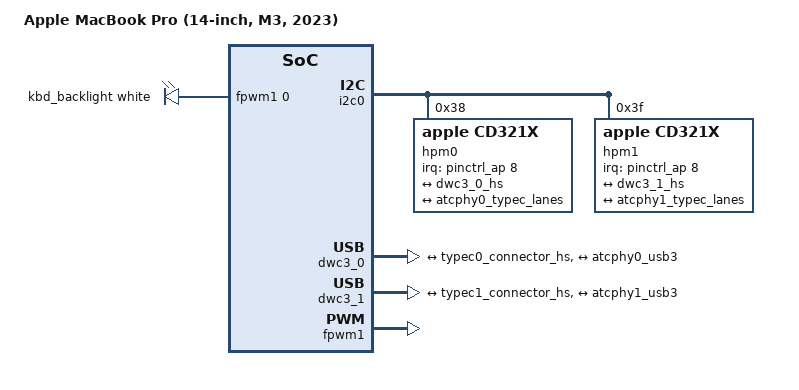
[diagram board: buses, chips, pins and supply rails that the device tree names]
// SPDX-License-Identifier: GPL-2.0+ OR MIT
/*
 * Apple MacBook Pro (14-inch, M3, 2023)
 *
 * target-type: J504
 *
 * Copyright The Asahi Linux Contributors
 */

/dts-v1/;

#include "t8122.dtsi"
#include "t8122-jxxx.dtsi"
#include <dt-bindings/leds/common.h>

/ {
	compatible = "apple,j504", "apple,t8122", "apple,arm-platform";
	model = "Apple MacBook Pro (14-inch, M3, 2023)";

	aliases {
#if 0
		bluetooth0 = &bluetooth0;
		wifi0 = &wifi0;
		keyboard = &keyboard;
#endif
	};

	led-controller {
		compatible = "pwm-leds";
		led-0 {
			pwms = <&fpwm1 0 40000>;
			label = "kbd_backlight";
			function = LED_FUNCTION_KBD_BACKLIGHT;
			color = <LED_COLOR_ID_WHITE>;
			max-brightness = <255>;
			default-state = "keep";
		};
	};
};

// &dcp {
// 	panel: panel {
// 		compatible = "apple,panel-j493", "apple,panel";
// 		width-mm = <286>;
// 		height-mm = <179>;
// 		apple,max-brightness = <525>;
// 	};
// };

&framebuffer0 {
	// panel = &panel;
	power-domains = <&ps_disp_cpu>, <&ps_dptx_ext_phy>;
};

/*
 * Force the bus number assignments so that we can declare some of the
 * on-board devices and properties that are populated by the bootloader
 * (such as MAC addresses).
 */
#if 0
&port00 {
	bus-range = <1 1>;
	pwren-gpios = <&smc_gpio 13 GPIO_ACTIVE_HIGH>;
	wifi0: wifi@0,0 {
		compatible = "pci14e4,4425";
		reg = <0x10000 0x0 0x0 0x0 0x0>;
		/* To be filled by the loader */
		local-mac-address = [00 00 00 00 00 00];
		apple,antenna-sku = "XX";
		brcm,board-type = "apple,kyushu";
	};

	bluetooth0: bluetooth@0,1 {
		compatible = "pci14e4,5f69";
		reg = <0x10100 0x0 0x0 0x0 0x0>;
		/* To be filled by the loader */
		local-bd-address = [00 00 00 00 00 00];
		brcm,board-type = "apple,kyushu";
	};
};
#endif

&i2c0 {
	status = "okay";

	hpm0: usb-pd@38 {
		compatible = "apple,cd321x";
		reg = <0x38>;
		interrupt-parent = <&pinctrl_ap>;
		interrupts = <8 IRQ_TYPE_LEVEL_LOW>;
		interrupt-names = "irq";

		typec0: connector {
			compatible = "usb-c-connector";
			label = "USB-C Left-back";
			power-role = "dual";
			data-role = "dual";

			ports {
				#address-cells = <1>;
				#size-cells = <0>;
				port@0 {
					reg = <0>;
					typec0_connector_hs: endpoint {
						remote-endpoint = <&dwc3_0_hs>;
					};
				};
				port@1 {
					reg = <1>;
					typec0_connector_ss: endpoint {
						remote-endpoint = <&atcphy0_typec_lanes>;
					};
				};
			};
		};
	};

	hpm1: usb-pd@3f {
		compatible = "apple,cd321x";
		reg = <0x3f>;
		interrupt-parent = <&pinctrl_ap>;
		interrupts = <8 IRQ_TYPE_LEVEL_LOW>;
		interrupt-names = "irq";

		typec1: connector {
			compatible = "usb-c-connector";
			label = "USB-C Left-front";
			power-role = "dual";
			data-role = "dual";

			ports {
				#address-cells = <1>;
				#size-cells = <0>;
				port@0 {
					reg = <0>;
					typec1_connector_hs: endpoint {
						remote-endpoint = <&dwc3_1_hs>;
					};
				};
				port@1 {
					reg = <1>;
					typec1_connector_ss: endpoint {
						remote-endpoint = <&atcphy1_typec_lanes>;
					};
				};
			};
		};
	};
};

/* USB controllers */
&dwc3_0 {
	ports {
		#address-cells = <1>;
		#size-cells = <0>;

		port@0 {
			reg = <0>;
			dwc3_0_hs: endpoint {
				remote-endpoint = <&typec0_connector_hs>;
			};
		};

		port@1 {
			reg = <1>;
			dwc3_0_ss: endpoint {
				remote-endpoint = <&atcphy0_usb3>;
			};
		};
	};
};

&dwc3_1 {
	ports {
		#address-cells = <1>;
		#size-cells = <0>;

		port@0 {
			reg = <0>;
			dwc3_1_hs: endpoint {
				remote-endpoint = <&typec1_connector_hs>;
			};
		};

		port@1 {
			reg = <1>;
			dwc3_1_ss: endpoint {
				remote-endpoint = <&atcphy1_usb3>;
			};
		};
	};
};

/* Type-C PHYs */
&atcphy0 {
	ports {
		#address-cells = <1>;
		#size-cells = <0>;

		port@0 {
			reg = <0>;
			atcphy0_typec_lanes: endpoint {
				remote-endpoint = <&typec0_connector_ss>;
			};
		};

		port@1 {
			reg = <1>;
			atcphy0_usb3: endpoint {
				remote-endpoint = <&dwc3_0_ss>;
			};
		};
	};
};

&atcphy1 {
	ports {
		#address-cells = <1>;
		#size-cells = <0>;

		port@0 {
			reg = <0>;
			atcphy1_typec_lanes: endpoint {
				remote-endpoint = <&typec1_connector_ss>;
			};
		};

		port@1 {
			reg = <1>;
			atcphy1_usb3: endpoint {
				remote-endpoint = <&dwc3_1_ss>;
			};
		};
	};
};

&fpwm1 {
	status = "okay";
};

#if 0
&mtp {
	status = "okay";
};
&mtp_mbox {
	status = "okay";
};
&mtp_dart {
	status = "okay";
};
&mtp_dockchannel {
	status = "okay";
};
&mtp_hid {
	apple,afe-reset-gpios = <&smc_gpio 8 GPIO_ACTIVE_LOW>;
	apple,stm-reset-gpios = <&smc_gpio 24 GPIO_ACTIVE_LOW>;

	multi-touch {
		firmware-name = "apple/tpmtfw-j504.bin";
	};

	keyboard: keyboard {
		hid-country-code = <0>;
		apple,keyboard-layout-id = <0>;
	};

	stm {
	};

	actuator {
	};

	tp_accel {
	};
};
#endif
